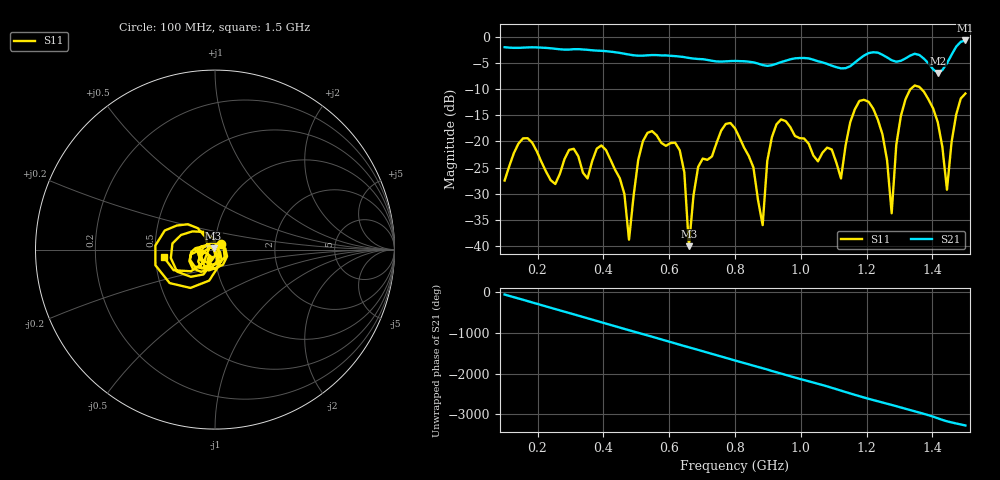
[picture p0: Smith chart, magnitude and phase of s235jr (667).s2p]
! NanoVNA-App
! Date: 2025-09-25 15:09:22
! Start: 100MHz Stop: 1,5GHz Points: 101
! S-Parameter data: F S11 S21 S12 S22
# Hz S RI R 50
!  Frequency  S11_Real  S11_Imag  S21_Real  S21_Imag  S12_Real  S12_Imag  S22_Real  S22_Imag
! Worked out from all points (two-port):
!   101 points, 100 MHz to 1.5 GHz, reference 50 ohm
!   highest |S21| = -0.67 dB at 1.5 GHz (marker M1); lowest = -6.9 dB at 1.416 GHz (marker M2)
!   |S21| within 3 dB of the highest: start of sweep to 618.3 MHz; 1.19 GHz to 1.255 GHz (65.61 MHz wide, 5.37 % of centre) (the widest 2 of 4)
!   lowest |S11| = -40.0 dB at 660 MHz (marker M3), VSWR 1.02, Z = 49.2 + j0.634 ohm
!   |S11| at or under -10 dB: start of sweep to 1.333 GHz; 1.367 GHz to end of sweep
!   S12 and S22 are empty: the file has one direction only
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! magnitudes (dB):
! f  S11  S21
! 100 MHz  -27.5  -2.0
! 156 MHz  -19.4  -2.0
! 338 MHz  -26.0  -2.4
! 408 MHz  -21.6  -2.7
! 478 MHz  -38.8  -3.4
! 520 MHz  -20.0  -3.6
! 576 MHz  -20.3  -3.5
! 632 MHz  -21.7  -3.7
! 660 MHz  -40.0  -4.0
! 688 MHz  -24.9  -4.2
! 800 MHz  -17.5  -4.6
! 884 MHz  -36.0  -5.4
! 926 MHz  -16.7  -5.1
! 1.038 GHz  -22.7  -4.4
! 1.122 GHz  -27.1  -6.0
! 1.206 GHz  -12.4  -3.1
! 1.276 GHz  -33.7  -4.5
! 1.29 GHz  -20.6  -4.7
! 1.332 GHz  -10.1  -3.6
! 1.416 GHz  -16.3  -6.9
! 1.444 GHz  -29.2  -5.0
! 1.5 GHz  -10.8  -0.7
